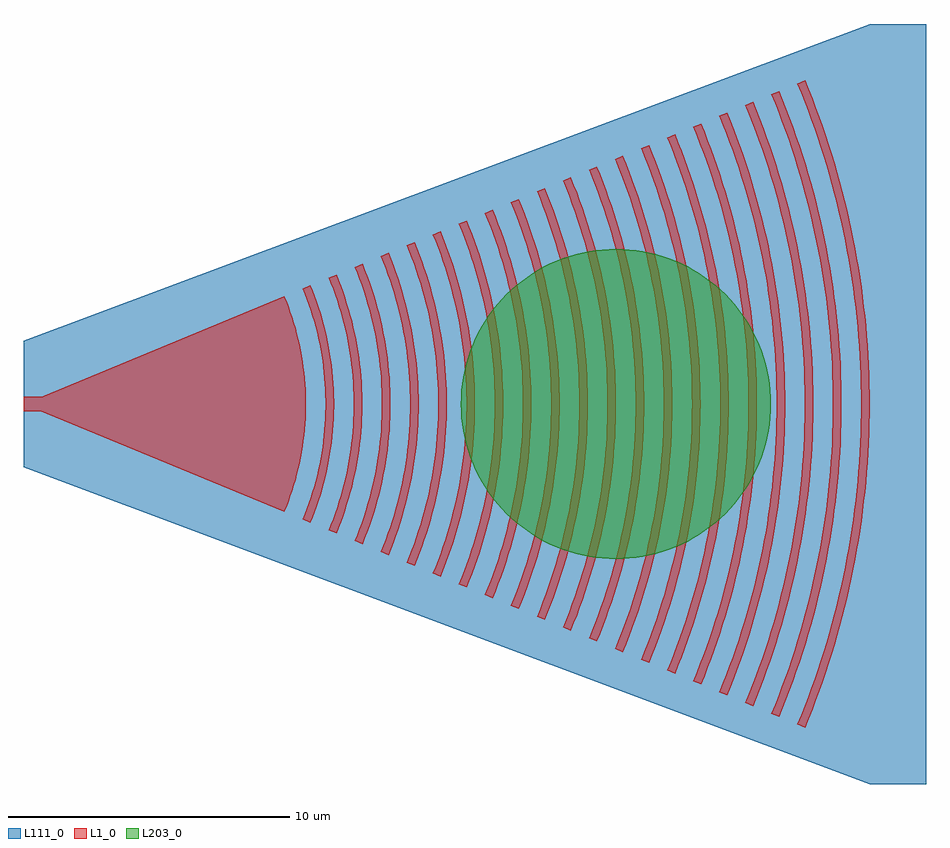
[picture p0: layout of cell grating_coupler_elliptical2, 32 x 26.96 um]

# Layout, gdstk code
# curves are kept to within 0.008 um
import gdstk
lib = gdstk.Library(unit=1e-6, precision=1e-09)
def R(c, l, rs):  # rectangles x0, y0, x1, y1
    for r in rs: c.add(gdstk.rectangle(r[:2], r[2:], *l))
def P(c, l, *ps):  # polygons
    for p in ps: c.add(gdstk.Polygon(p, *l))
L1_0 = (1, 0)
L111_0 = (111, 0)
L203_0 = (203, 0)

circle_layer203_0_radius = lib.new_cell('circle_layer203_0_radius5p5')
P(circle_layer203_0_radius, L203_0, [(5.5,0),(5.495,0.24),(5.453,0.718),(5.37,1.19),(5.245,1.654),(5.081,2.105),(4.879,2.54),(4.639,2.955),(4.505,3.155),(4.213,3.535),(3.889,3.889),(3.535,4.213),(3.155,4.505),(2.955,4.639),(2.54,4.879),(2.105,5.081),(1.654,5.245),(1.19,5.37),(0.718,5.453),(0.24,5.495),(0,5.5),(-0.24,5.495),(-0.718,5.453),(-1.19,5.37),(-1.654,5.245),(-2.105,5.081),(-2.54,4.879),(-2.955,4.639),(-3.155,4.505),(-3.535,4.213),(-3.889,3.889),(-4.213,3.535),(-4.505,3.155),(-4.639,2.955),(-4.879,2.54),(-5.081,2.105),(-5.245,1.654),(-5.37,1.19),(-5.453,0.718),(-5.495,0.24),(-5.5,0),(-5.495,-0.24),(-5.453,-0.718),(-5.37,-1.19),(-5.245,-1.654),(-5.081,-2.105),(-4.879,-2.54),(-4.639,-2.955),(-4.505,-3.155),(-4.213,-3.535),(-3.889,-3.889),(-3.535,-4.213),(-3.155,-4.505),(-2.955,-4.639),(-2.54,-4.879),(-2.105,-5.081),(-1.654,-5.245),(-1.19,-5.37),(-0.718,-5.453),(-0.24,-5.495),(0,-5.5),(0.24,-5.495),(0.718,-5.453),(1.19,-5.37),(1.654,-5.245),(2.105,-5.081),(2.54,-4.879),(2.955,-4.639),(3.155,-4.505),(3.535,-4.213),(3.889,-3.889),(4.213,-3.535),(4.505,-3.155),(4.639,-2.955),(4.879,-2.54),(5.081,-2.105),(5.245,-1.654),(5.37,-1.19),(5.453,-0.718),(5.495,-0.24)])

grating_coupler_elliptic = lib.new_cell('grating_coupler_elliptical2')
R(grating_coupler_elliptic, L1_0, [(0,-0.25,0.704,0.25)])
P(grating_coupler_elliptic, L1_0, [(10.163,-4.21),(10.388,-3.619),(10.519,-3.218),(10.686,-2.609),(10.778,-2.198),(10.855,-1.783),(10.939,-1.157),(10.987,-0.527),(10.999,-0.105),(10.987,0.527),(10.939,1.157),(10.855,1.783),(10.778,2.198),(10.686,2.609),(10.519,3.218),(10.388,3.619),(10.163,4.21),(9.886,4.095),(10.035,3.713),(10.232,3.131),(10.395,2.538),(10.484,2.138),(10.59,1.532),(10.641,1.125),(10.688,0.512),(10.7,0.102),(10.688,-0.512),(10.641,-1.125),(10.59,-1.532),(10.484,-2.138),(10.395,-2.538),(10.232,-3.131),(10.035,-3.713),(9.886,-4.095)],
  [(11.087,-4.592),(11.247,-4.184),(11.459,-3.562),(11.637,-2.929),(11.78,-2.287),(11.856,-1.856),(11.94,-1.203),(11.987,-0.548),(11.999,-0.11),(11.987,0.548),(11.94,1.203),(11.856,1.856),(11.78,2.287),(11.637,2.929),(11.459,3.562),(11.247,4.184),(11.087,4.592),(10.809,4.477),(10.966,4.08),(11.173,3.473),(11.292,3.063),(11.443,2.44),(11.524,2.02),(11.618,1.386),(11.676,0.747),(11.7,0.107),(11.696,-0.321),(11.661,-0.961),(11.59,-1.598),(11.485,-2.23),(11.346,-2.856),(11.173,-3.473),(10.966,-4.08),(10.809,-4.477)],
  [(12.01,-4.975),(12.18,-4.543),(12.406,-3.885),(12.596,-3.215),(12.75,-2.536),(12.833,-2.079),(12.926,-1.39),(12.981,-0.696),(13,0),(12.981,0.696),(12.926,1.39),(12.833,2.079),(12.75,2.536),(12.596,3.215),(12.406,3.885),(12.18,4.543),(12.01,4.975),(11.733,4.86),(11.977,4.225),(12.186,3.578),(12.306,3.141),(12.456,2.478),(12.571,1.807),(12.627,1.358),(12.682,0.68),(12.7,0),(12.682,-0.68),(12.627,-1.358),(12.571,-1.807),(12.456,-2.478),(12.36,-2.921),(12.186,-3.578),(11.977,-4.225),(11.733,-4.86)],
  [(12.934,-5.358),(13.192,-4.688),(13.414,-4.007),(13.602,-3.315),(13.754,-2.614),(13.87,-1.906),(13.927,-1.432),(13.982,-0.717),(14,0),(13.982,0.717),(13.927,1.432),(13.87,1.906),(13.754,2.614),(13.602,3.315),(13.414,4.007),(13.192,4.688),(12.934,5.358),(12.657,5.243),(12.909,4.588),(13.127,3.921),(13.31,3.244),(13.459,2.558),(13.572,1.865),(13.65,1.168),(13.692,0.468),(13.7,0),(13.692,-0.468),(13.65,-1.168),(13.572,-1.865),(13.459,-2.558),(13.31,-3.244),(13.127,-3.921),(12.909,-4.588),(12.657,-5.243)],
  [(13.858,-5.74),(14.123,-5.053),(14.354,-4.354),(14.55,-3.645),(14.712,-2.926),(14.838,-2.201),(14.928,-1.47),(14.982,-0.736),(15,0),(14.982,0.736),(14.928,1.47),(14.838,2.201),(14.712,2.926),(14.55,3.645),(14.354,4.354),(14.123,5.053),(13.858,5.74),(13.581,5.625),(13.841,4.952),(14.067,4.267),(14.259,3.572),(14.418,2.868),(14.541,2.157),(14.629,1.441),(14.682,0.721),(14.7,0),(14.682,-0.721),(14.629,-1.441),(14.541,-2.157),(14.418,-2.868),(14.259,-3.572),(14.067,-4.267),(13.841,-4.952),(13.581,-5.625)],
  [(14.782,-6.123),(15.059,-5.405),(15.302,-4.675),(15.509,-3.934),(15.68,-3.184),(15.815,-2.427),(15.913,-1.664),(15.975,-0.897),(15.999,-0.128),(15.987,0.641),(15.938,1.409),(15.852,2.173),(15.729,2.933),(15.627,3.435),(15.509,3.934),(15.302,4.675),(15.059,5.405),(14.782,6.123),(14.505,6.008),(14.777,5.304),(15.015,4.588),(15.218,3.861),(15.386,3.125),(15.518,2.381),(15.615,1.633),(15.675,0.88),(15.699,0.126),(15.687,-0.629),(15.615,-1.633),(15.518,-2.381),(15.386,-3.125),(15.218,-3.861),(15.015,-4.588),(14.777,-5.304),(14.505,-6.008)],
  [(15.706,-6.506),(15.99,-5.773),(16.239,-5.029),(16.454,-4.273),(16.634,-3.509),(16.778,-2.737),(16.887,-1.959),(16.939,-1.438),(16.975,-0.916),(16.999,-0.131),(16.995,0.393),(16.975,0.916),(16.915,1.699),(16.818,2.478),(16.686,3.252),(16.518,4.019),(16.315,4.778),(15.99,5.773),(15.706,6.506),(15.429,6.391),(15.707,5.671),(15.953,4.94),(16.164,4.198),(16.392,3.195),(16.522,2.434),(16.616,1.669),(16.676,0.9),(16.7,0.129),(16.688,-0.643),(16.64,-1.413),(16.589,-1.925),(16.522,-2.434),(16.392,-3.195),(16.164,-4.198),(15.953,-4.94),(15.707,-5.671),(15.429,-6.391)],
  [(16.63,-6.888),(16.925,-6.128),(17.264,-5.095),(17.477,-4.308),(17.654,-3.512),(17.752,-2.977),(17.834,-2.439),(17.926,-1.629),(17.982,-0.815),(18,0),(17.982,0.815),(17.926,1.629),(17.834,2.439),(17.752,2.977),(17.654,3.512),(17.477,4.308),(17.264,5.095),(16.925,6.128),(16.63,6.888),(16.353,6.773),(16.643,6.026),(16.899,5.266),(17.186,4.236),(17.36,3.453),(17.498,2.663),(17.601,1.868),(17.668,1.069),(17.692,0.535),(17.7,0),(17.692,-0.535),(17.668,-1.069),(17.601,-1.868),(17.498,-2.663),(17.36,-3.453),(17.186,-4.236),(16.899,-5.266),(16.643,-6.026),(16.353,-6.773)],
  [(17.554,-7.271),(17.947,-6.238),(18.202,-5.449),(18.353,-4.918),(18.488,-4.382),(18.661,-3.571),(18.799,-2.754),(18.902,-1.931),(18.968,-1.105),(18.992,-0.553),(19,0),(18.992,0.553),(18.968,1.105),(18.902,1.931),(18.799,2.754),(18.661,3.571),(18.488,4.382),(18.353,4.918),(18.202,5.449),(17.947,6.238),(17.554,7.271),(17.277,7.156),(17.663,6.14),(17.914,5.363),(18.063,4.84),(18.196,4.313),(18.367,3.515),(18.503,2.71),(18.574,2.171),(18.629,1.63),(18.682,0.816),(18.7,0),(18.682,-0.816),(18.629,-1.63),(18.574,-2.171),(18.503,-2.71),(18.367,-3.515),(18.196,-4.313),(18.063,-4.84),(17.914,-5.363),(17.663,-6.14),(17.277,-7.156)],
  [(18.478,-7.654),(18.689,-7.123),(18.884,-6.586),(19.149,-5.772),(19.379,-4.946),(19.63,-3.832),(19.776,-2.988),(19.853,-2.422),(19.914,-1.854),(19.975,-0.999),(19.999,-0.143),(19.975,0.999),(19.914,1.854),(19.853,2.422),(19.776,2.988),(19.63,3.832),(19.379,4.946),(19.149,5.772),(18.884,6.586),(18.689,7.123),(18.478,7.654),(18.2,7.539),(18.507,6.752),(18.862,5.685),(19.017,5.144),(19.156,4.599),(19.335,3.774),(19.479,2.943),(19.587,2.106),(19.659,1.265),(19.699,0.141),(19.687,-0.703),(19.659,-1.265),(19.615,-1.826),(19.555,-2.385),(19.479,-2.943),(19.335,-3.774),(19.156,-4.599),(19.017,-5.144),(18.862,-5.685),(18.507,-6.752),(18.2,-7.539)],
  [(19.401,-8.036),(19.619,-7.489),(19.822,-6.936),(20.096,-6.096),(20.259,-5.53),(20.406,-4.96),(20.596,-4.097),(20.751,-3.227),(20.833,-2.644),(20.899,-2.058),(20.967,-1.177),(20.992,-0.589),(21,0),(20.992,0.589),(20.967,1.177),(20.899,2.058),(20.833,2.644),(20.751,3.227),(20.596,4.097),(20.406,4.96),(20.259,5.53),(20.096,6.096),(19.822,6.936),(19.619,7.489),(19.401,8.036),(19.124,7.922),(19.441,7.11),(19.809,6.009),(20.044,5.17),(20.181,4.606),(20.302,4.038),(20.408,3.467),(20.497,2.894),(20.6,2.029),(20.682,0.871),(20.7,0),(20.682,-0.871),(20.6,-2.029),(20.497,-2.894),(20.408,-3.467),(20.302,-4.038),(20.181,-4.606),(20.044,-5.17),(19.809,-6.009),(19.441,-7.11),(19.124,-7.922)],
  [(20.325,-8.419),(20.651,-7.587),(21.031,-6.457),(21.276,-5.598),(21.42,-5.02),(21.548,-4.438),(21.71,-3.559),(21.799,-2.97),(21.871,-2.379),(21.968,-1.191),(21.992,-0.596),(22,0),(21.992,0.596),(21.968,1.191),(21.871,2.379),(21.799,2.97),(21.71,3.559),(21.548,4.438),(21.42,5.02),(21.276,5.598),(21.031,6.457),(20.651,7.587),(20.325,8.419),(20.048,8.304),(20.369,7.483),(20.564,6.929),(20.744,6.369),(21.059,5.237),(21.254,4.377),(21.365,3.8),(21.46,3.22),(21.603,2.054),(21.682,0.881),(21.7,0),(21.682,-0.881),(21.603,-2.054),(21.46,-3.22),(21.365,-3.8),(21.254,-4.377),(21.059,-5.237),(20.744,-6.369),(20.564,-6.929),(20.369,-7.483),(20.048,-8.304)],
  [(21.249,-8.802),(21.476,-8.233),(21.688,-7.658),(21.976,-6.786),(22.149,-6.199),(22.306,-5.607),(22.573,-4.412),(22.776,-3.204),(22.885,-2.292),(22.959,-1.377),(22.999,-0.153),(22.975,1.071),(22.914,1.988),(22.853,2.597),(22.776,3.204),(22.573,4.412),(22.306,5.607),(22.149,6.199),(21.976,6.786),(21.688,7.658),(21.476,8.233),(21.249,8.802),(20.972,8.687),(21.196,8.126),(21.405,7.558),(21.689,6.698),(21.86,6.118),(22.015,5.534),(22.219,4.651),(22.435,3.461),(22.555,2.563),(22.615,1.962),(22.659,1.359),(22.699,0.151),(22.687,-0.755),(22.639,-1.66),(22.555,-2.563),(22.435,-3.461),(22.219,-4.651),(22.087,-5.24),(21.86,-6.118),(21.689,-6.698),(21.405,-7.558),(21.196,-8.126),(20.972,-8.687)],
  [(22.173,-9.184),(22.406,-8.601),(22.623,-8.011),(23.012,-6.816),(23.262,-5.908),(23.539,-4.682),(23.705,-3.754),(23.795,-3.133),(23.869,-2.509),(23.926,-1.883),(23.967,-1.256),(23.992,-0.628),(24,0),(23.992,0.628),(23.967,1.256),(23.926,1.883),(23.869,2.509),(23.795,3.133),(23.705,3.754),(23.539,4.682),(23.262,5.908),(23.012,6.816),(22.623,8.011),(22.406,8.601),(22.173,9.184),(21.896,9.07),(22.341,7.911),(22.54,7.324),(22.724,6.731),(22.971,5.834),(23.116,5.231),(23.245,4.624),(23.358,4.014),(23.497,3.093),(23.601,2.169),(23.668,1.24),(23.7,0),(23.668,-1.24),(23.601,-2.169),(23.497,-3.093),(23.358,-4.014),(23.245,-4.624),(23.116,-5.231),(22.971,-5.834),(22.724,-6.731),(22.54,-7.324),(22.341,-7.911),(21.896,-9.07)],
  [(23.097,-9.567),(23.332,-8.979),(23.552,-8.385),(23.757,-7.786),(23.946,-7.181),(24.121,-6.572),(24.279,-5.959),(24.423,-5.342),(24.55,-4.722),(24.712,-3.786),(24.872,-2.529),(24.928,-1.898),(24.968,-1.266),(25,0),(24.968,1.266),(24.928,1.898),(24.872,2.529),(24.712,3.786),(24.55,4.722),(24.423,5.342),(24.279,5.959),(24.121,6.572),(23.946,7.181),(23.757,7.786),(23.552,8.385),(23.332,8.979),(23.097,9.567),(22.82,9.452),(23.052,8.871),(23.372,7.989),(23.747,6.795),(23.912,6.191),(24.061,5.583),(24.194,4.972),(24.366,4.049),(24.461,3.431),(24.54,2.81),(24.629,1.876),(24.682,0.938),(24.7,0),(24.682,-0.938),(24.629,-1.876),(24.54,-2.81),(24.461,-3.431),(24.366,-4.049),(24.194,-4.972),(24.061,-5.583),(23.912,-6.191),(23.747,-6.795),(23.372,-7.989),(23.052,-8.871),(22.82,-9.452)],
  [(24.021,-9.95),(24.376,-9.045),(24.797,-7.818),(25.156,-6.573),(25.312,-5.943),(25.452,-5.311),(25.685,-4.035),(25.778,-3.394),(25.854,-2.75),(25.915,-2.105),(25.959,-1.458),(25.999,-0.162),(25.975,1.134),(25.939,1.781),(25.886,2.427),(25.818,3.072),(25.733,3.715),(25.633,4.355),(25.516,4.993),(25.384,5.627),(25.236,6.259),(25.072,6.886),(24.892,7.509),(24.487,8.74),(24.021,9.95),(23.744,9.835),(23.982,9.24),(24.31,8.337),(24.511,7.728),(24.696,7.115),(25.02,5.875),(25.222,4.935),(25.337,4.305),(25.52,3.037),(25.616,2.08),(25.676,1.121),(25.7,0.16),(25.688,-0.801),(25.66,-1.441),(25.616,-2.08),(25.52,-3.037),(25.337,-4.305),(25.222,-4.935),(25.02,-5.875),(24.696,-7.115),(24.511,-7.728),(24.31,-8.337),(23.982,-9.24),(23.744,-9.835)],
  [(24.945,-10.332),(25.191,-9.717),(25.422,-9.096),(25.837,-7.838),(26.022,-7.201),(26.191,-6.56),(26.344,-5.916),(26.481,-5.267),(26.708,-3.962),(26.797,-3.305),(26.87,-2.646),(26.927,-1.986),(26.967,-1.325),(26.992,-0.663),(27,0),(26.992,0.663),(26.967,1.325),(26.927,1.986),(26.87,2.646),(26.797,3.305),(26.708,3.962),(26.481,5.267),(26.344,5.916),(26.191,6.56),(26.022,7.201),(25.837,7.838),(25.422,9.096),(25.191,9.717),(24.945,10.332),(24.668,10.218),(25.027,9.303),(25.248,8.686),(25.453,8.064),(25.643,7.436),(25.9,6.488),(26.051,5.85),(26.187,5.209),(26.307,4.565),(26.457,3.593),(26.602,2.291),(26.682,0.983),(26.7,0),(26.682,-0.983),(26.602,-2.291),(26.457,-3.593),(26.307,-4.565),(26.187,-5.209),(26.051,-5.85),(25.9,-6.488),(25.643,-7.436),(25.453,-8.064),(25.248,-8.686),(25.027,-9.303),(24.668,-10.218)],
  [(25.869,-10.715),(26.12,-10.087),(26.356,-9.453),(26.577,-8.813),(26.782,-8.168),(26.972,-7.519),(27.145,-6.865),(27.303,-6.207),(27.445,-5.545),(27.571,-4.881),(27.681,-4.213),(27.775,-3.543),(27.852,-2.871),(27.914,-2.197),(27.959,-1.522),(27.987,-0.846),(27.999,-0.169),(27.975,1.184),(27.885,2.534),(27.816,3.207),(27.73,3.878),(27.628,4.547),(27.51,5.213),(27.376,5.877),(27.226,6.536),(26.879,7.844),(26.577,8.813),(26.356,9.453),(26.12,10.087),(25.869,10.715),(25.591,10.6),(25.84,9.979),(26.074,9.352),(26.292,8.719),(26.591,7.76),(26.771,7.115),(27.011,6.141),(27.276,4.828),(27.433,3.837),(27.518,3.173),(27.586,2.507),(27.659,1.505),(27.687,0.837),(27.699,0.167),(27.687,-0.837),(27.615,-2.173),(27.518,-3.173),(27.433,-3.837),(27.332,-4.498),(27.216,-5.158),(27.011,-6.141),(26.855,-6.791),(26.683,-7.438),(26.495,-8.081),(26.185,-9.036),(25.959,-9.666),(25.591,-10.6)],
  [(26.793,-11.098),(27.049,-10.457),(27.29,-9.81),(27.516,-9.158),(27.726,-8.501),(27.921,-7.839),(28.099,-7.172),(28.262,-6.501),(28.409,-5.827),(28.654,-4.468),(28.795,-3.443),(28.869,-2.757),(28.926,-2.069),(28.967,-1.38),(28.992,-0.69),(29,0),(28.992,0.69),(28.967,1.38),(28.926,2.069),(28.869,2.757),(28.795,3.443),(28.654,4.468),(28.409,5.827),(28.262,6.501),(28.099,7.172),(27.921,7.839),(27.726,8.501),(27.516,9.158),(27.29,9.81),(27.049,10.457),(26.793,11.098),(26.515,10.983),(26.769,10.349),(27.122,9.387),(27.337,8.739),(27.632,7.757),(27.809,7.098),(27.97,6.434),(28.115,5.766),(28.303,4.759),(28.408,4.084),(28.497,3.407),(28.6,2.388),(28.649,1.707),(28.682,1.024),(28.7,0),(28.682,-1.024),(28.649,-1.707),(28.6,-2.388),(28.497,-3.407),(28.408,-4.084),(28.303,-4.759),(28.115,-5.766),(27.97,-6.434),(27.809,-7.098),(27.632,-7.757),(27.439,-8.413),(27.122,-9.387),(26.769,-10.349),(26.515,-10.983)],
  [(27.716,-11.481),(27.974,-10.837),(28.333,-9.862),(28.758,-8.543),(28.948,-7.876),(29.122,-7.205),(29.281,-6.531),(29.424,-5.853),(29.609,-4.83),(29.712,-4.145),(29.8,-3.457),(29.872,-2.768),(29.968,-1.386),(30,0),(29.968,1.386),(29.872,2.768),(29.8,3.457),(29.712,4.145),(29.609,4.83),(29.424,5.853),(29.281,6.531),(29.122,7.205),(28.948,7.876),(28.758,8.543),(28.333,9.862),(27.974,10.837),(27.716,11.481),(27.439,11.366),(27.694,10.729),(28.049,9.763),(28.268,9.113),(28.566,8.128),(28.831,7.133),(28.988,6.465),(29.255,5.12),(29.366,4.443),(29.461,3.763),(29.54,3.082),(29.603,2.399),(29.682,1.029),(29.7,0),(29.682,-1.029),(29.603,-2.399),(29.54,-3.082),(29.461,-3.763),(29.366,-4.443),(29.255,-5.12),(28.988,-6.465),(28.831,-7.133),(28.566,-8.128),(28.268,-9.113),(28.049,-9.763),(27.694,-10.729),(27.439,-11.366)],
  [(0,0),(9.239,-3.827),(9.453,-3.262),(9.577,-2.879),(9.685,-2.491),(9.818,-1.902),(9.939,-1.105),(9.987,-0.503),(9.999,-0.101),(9.995,0.302),(9.975,0.704),(9.939,1.105),(9.818,1.902),(9.685,2.491),(9.517,3.071),(9.239,3.827)])
R(grating_coupler_elliptic, L111_0, [(30,-13.481,32,13.481)])
P(grating_coupler_elliptic, L111_0, [(0,2.25),(0,-2.25),(30,-13.481),(30,13.481)])
grating_coupler_elliptic.add(gdstk.Reference(circle_layer203_0_radius, (21,0)))

lib.write_gds('grating_coupler_elliptical2.gds')
